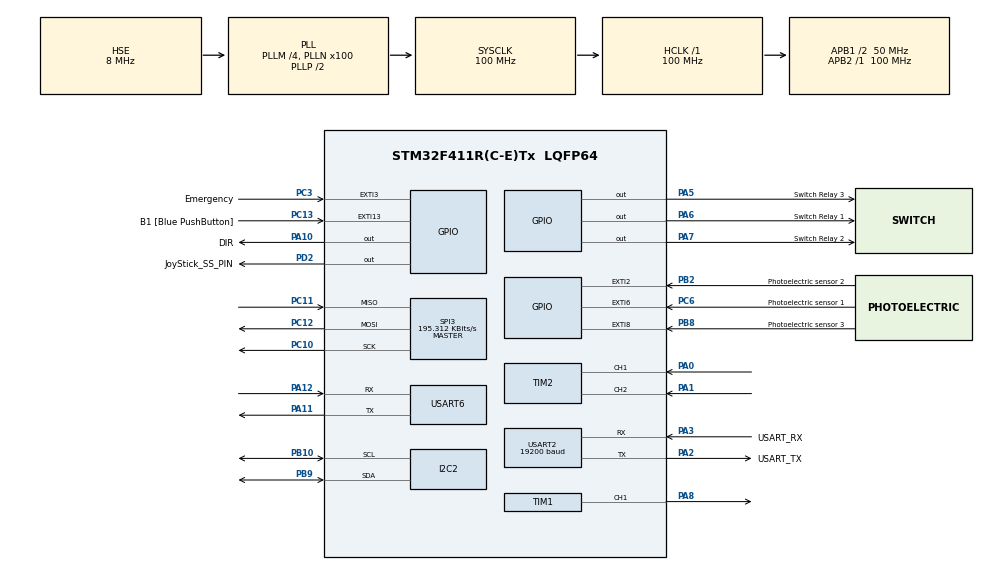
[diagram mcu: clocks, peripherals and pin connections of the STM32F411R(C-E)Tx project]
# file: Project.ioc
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Dma.Request0=USART2_TX
Dma.USART2_TX.0.Direction=DMA_MEMORY_TO_PERIPH
Dma.USART2_TX.0.FIFOMode=DMA_FIFOMODE_DISABLE
Dma.USART2_TX.0.Instance=DMA1_Stream6
Dma.USART2_TX.0.MemDataAlignment=DMA_MDATAALIGN_BYTE
Dma.USART2_TX.0.MemInc=DMA_MINC_ENABLE
Dma.USART2_TX.0.Mode=DMA_NORMAL
Dma.USART2_TX.0.PeriphDataAlignment=DMA_PDATAALIGN_BYTE
Dma.USART2_TX.0.PeriphInc=DMA_PINC_DISABLE
Dma.USART2_TX.0.Priority=DMA_PRIORITY_LOW
Mcu.Family=STM32F4
Mcu.Name=STM32F411R(C-E)Tx
Mcu.Package=LQFP64
NVIC.DMA1_Stream6_IRQn=true\:0\:0\:false\:false\:true\:false\:true\:true
NVIC.EXTI15_10_IRQn=true\:0\:0\:false\:false\:true\:true\:true\:true
NVIC.EXTI2_IRQn=true\:0\:0\:false\:false\:true\:true\:true\:true
NVIC.EXTI3_IRQn=true\:0\:0\:false\:false\:true\:true\:true\:true
NVIC.EXTI9_5_IRQn=true\:0\:0\:false\:false\:true\:true\:true\:true
NVIC.PriorityGroup=NVIC_PRIORITYGROUP_0
NVIC.TIM1_TRG_COM_TIM11_IRQn=true\:0\:0\:false\:false\:true\:true\:true\:true
NVIC.TIM3_IRQn=true\:0\:0\:false\:false\:true\:true\:true\:true
NVIC.TIM5_IRQn=true\:0\:0\:false\:false\:true\:true\:true\:true
NVIC.USART2_IRQn=true\:0\:0\:false\:false\:true\:true\:true\:true
PA0-WKUP.Signal=S_TIM2_CH1_ETR
PA1.Signal=S_TIM2_CH2
PA10.GPIO_Label=DIR
PA10.Signal=GPIO_Output
PA11.Mode=Asynchronous
PA11.Signal=USART6_TX
PA12.Mode=Asynchronous
PA12.Signal=USART6_RX
PA13.GPIO_Label=TMS
PA13.Mode=Serial_Wire
PA13.Signal=SYS_JTMS-SWDIO
PA14.GPIO_Label=TCK
PA14.Mode=Serial_Wire
PA14.Signal=SYS_JTCK-SWCLK
PA2.GPIO_Label=USART_TX
PA2.Mode=Asynchronous
PA2.Signal=USART2_TX
PA3.GPIO_Label=USART_RX
PA3.Mode=Asynchronous
PA3.Signal=USART2_RX
PA5.GPIO_Label=Switch Relay 3
PA5.Signal=GPIO_Output
PA6.GPIO_Label=Switch Relay 1
PA6.Signal=GPIO_Output
PA7.GPIO_Label=Switch Relay 2
PA7.Signal=GPIO_Output
PA8.Signal=S_TIM1_CH1
PB10.GPIO_Pu=GPIO_PULLUP
PB10.Mode=I2C
PB10.Signal=I2C2_SCL
PB2.GPIO_Label=Photoelectric sensor 2
PB2.GPIO_ModeDefaultEXTI=GPIO_MODE_IT_FALLING
PB2.Signal=GPXTI2
PB8.GPIO_Label=Photoelectric sensor 3
PB8.GPIO_ModeDefaultEXTI=GPIO_MODE_IT_FALLING
PB8.Signal=GPXTI8
PB9.GPIO_Pu=GPIO_PULLUP
PB9.Mode=I2C
PB9.Signal=I2C2_SDA
PC10.Mode=Full_Duplex_Master
PC10.Signal=SPI3_SCK
PC11.Mode=Full_Duplex_Master
PC11.Signal=SPI3_MISO
PC12.Mode=Full_Duplex_Master
PC12.Signal=SPI3_MOSI
PC13-ANTI_TAMP.GPIO_Label=B1 [Blue PushButton]
PC13-ANTI_TAMP.GPIO_ModeDefaultEXTI=GPIO_MODE_IT_FALLING
PC13-ANTI_TAMP.Signal=GPXTI13
PC14-OSC32_IN.Mode=LSE-External-Oscillator
PC14-OSC32_IN.Signal=RCC_OSC32_IN
PC15-OSC32_OUT.Mode=LSE-External-Oscillator
PC15-OSC32_OUT.Signal=RCC_OSC32_OUT
PC3.GPIO_Label=Emergency
PC3.GPIO_ModeDefaultEXTI=GPIO_MODE_IT_RISING
PC3.Signal=GPXTI3
PC6.GPIO_Label=Photoelectric sensor 1
PC6.GPIO_ModeDefaultEXTI=GPIO_MODE_IT_FALLING
PC6.Signal=GPXTI6
PD2.GPIO_Label=JoyStick_SS_PIN
PD2.Signal=GPIO_Output
PH0\ -\ OSC_IN.Mode=HSE-External-Clock-Source
PH0\ -\ OSC_IN.Signal=RCC_OSC_IN
PH1\ -\ OSC_OUT.Mode=HSE-External-Clock-Source
PH1\ -\ OSC_OUT.Signal=RCC_OSC_OUT
ProjectManager.HeapSize=0x200
ProjectManager.StackSize=0x400
ProjectManager.TargetToolchain=STM32CubeIDE
RCC.48MHZClocksFreq_Value=50000000
RCC.AHBFreq_Value=100000000
RCC.APB1CLKDivider=RCC_HCLK_DIV2
RCC.APB1Freq_Value=50000000
RCC.APB1TimFreq_Value=100000000
RCC.APB2Freq_Value=100000000
RCC.APB2TimFreq_Value=100000000
RCC.CortexFreq_Value=100000000
RCC.FLatency-AdvancedSettings=FLASH_LATENCY_3
RCC.HCLKFreq_Value=100000000
RCC.HSE_VALUE=8000000
RCC.HSI_VALUE=16000000
RCC.PLLM=4
RCC.PLLN=100
RCC.PLLSourceVirtual=RCC_PLLSOURCE_HSE
RCC.SYSCLKFreq_VALUE=100000000
RCC.SYSCLKSource=RCC_SYSCLKSOURCE_PLLCLK
RCC.VCOOutputFreq_Value=200000000
SH.S_TIM1_CH1.0=TIM1_CH1,PWM Generation1 CH1
SH.S_TIM2_CH1_ETR.0=TIM2_CH1,Encoder_Interface
SH.S_TIM2_CH2.0=TIM2_CH2,Encoder_Interface
SPI3.BaudRatePrescaler=SPI_BAUDRATEPRESCALER_256
SPI3.CLKPhase=SPI_PHASE_2EDGE
SPI3.CLKPolarity=SPI_POLARITY_HIGH
SPI3.CalculateBaudRate=195.312 KBits/s
SPI3.Direction=SPI_DIRECTION_2LINES
SPI3.FirstBit=SPI_FIRSTBIT_LSB
SPI3.Mode=SPI_MODE_MASTER
SPI3.VirtualType=VM_MASTER
TIM1.Channel-PWM\ Generation1\ CH1=TIM_CHANNEL_1
TIM1.Period=65535
TIM1.Prescaler=0
TIM1.Pulse-PWM\ Generation1\ CH1=0
TIM11.Channel=TIM_CHANNEL_1
TIM11.OCMode_1=TIM_OCMODE_ACTIVE
TIM11.Period=2005
TIM11.Prescaler=99
TIM11.Pulse=1433
TIM2.EncoderMode=TIM_ENCODERMODE_TI12
TIM2.IC1Filter=15
TIM2.IC2Filter=15
TIM3.Period=9999
TIM3.Prescaler=99
TIM5.Prescaler=99
USART2.BaudRate=19200
USART2.Parity=PARITY_EVEN
USART2.VirtualMode=VM_ASYNC
USART2.WordLength=WORDLENGTH_9B
USART6.Parity=PARITY_EVEN
USART6.VirtualMode=VM_ASYNC
USART6.WordLength=WORDLENGTH_9B
VP_TIM11_VS_ClockSourceINT.Mode=Enable_Timer
VP_TIM11_VS_OPM.Mode=OPM_bit
VP_TIM11_VS_no_output1.Mode=Output Compare1 No Output
VP_TIM1_VS_ClockSourceINT.Mode=Internal
VP_TIM3_VS_ClockSourceINT.Mode=Internal
VP_TIM5_VS_ClockSourceINT.Mode=Internal
board=NUCLEO-F411RE

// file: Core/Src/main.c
/* USER CODE BEGIN Header */
/**
 ******************************************************************************
 * @file           : main.c
 * @brief          : Main program body
 ******************************************************************************
 * @attention
 *
 * Copyright (c) 2023 STMicroelectronics.
 * All rights reserved.
 *
 * This software is licensed under terms that can be found in the LICENSE file
 * in the root directory of this software component.
 * If no LICENSE file comes with this software, it is provided AS-IS.
 *
 ******************************************************************************
 */
/* USER CODE END Header */
#include "main.h"

/* USER CODE BEGIN Includes */
#include "math.h"
#include "arm_math.h"
#include "Function.h"
#include "endeffector.h"
#include "joystick.h"
#include "pid_traject.h"
#include "ModBusRTU.h"
/* USER CODE END Includes */

I2C_HandleTypeDef hi2c2;

SPI_HandleTypeDef hspi3;

TIM_HandleTypeDef htim1;
TIM_HandleTypeDef htim2;
TIM_HandleTypeDef htim3;
TIM_HandleTypeDef htim5;
TIM_HandleTypeDef htim11;

UART_HandleTypeDef huart2;
UART_HandleTypeDef huart6;
DMA_HandleTypeDef hdma_usart2_tx;

/* USER CODE BEGIN PV */
////////////Traject/////////
uint64_t traject_us = 1000;
uint64_t pid_us = 1000;

float pos_i = 0;
float pos_f = 0;

uint8_t state_IT = 0;
uint8_t go_next = 0;
uint8_t Re = 0;

double t_Acce = 0.001;
double t_DeAcce = 0.001;
double t_Cons = 0.001;
double t_count = 0.001;
double t_diff = 0.001;

double x;
double v;
double a;

float Dutyfeedback;
///////////////////////////////

// for PID control///////////
uint8_t State_PID = 2;
float Intregral = 0;

float current_pos = 0.0;
float current_velocity = 0.0;
float acc = 0.0;
////////////////////////////////

int state_laser = 0;
/////////////////////////////

uint64_t _micros = 0;

ModbusHandleTypedef hmodbus;
u16u8_t registerFrame[200];

////////////read sensor/////////
struct GPIO_Check {
	int photo1;
	int photo2;
	int photo3;
	int emer;
	int ramp;
} GPIO_test;

int PHOTO1;
int PHOTO2;
int32_t QEIReadRaw;
float PosY;
////////////read sensor/////////

////////////JoyStick/////////

float Pick_Point_Y[9];
float Pick_Point_X[9];

float Place_Point_Y[9];
float Place_Point_X[9];

int position_index = 0;
float position_test[18] = { 99.34, 544.89, 119.34, 564.89, 139.64, 584.89,
		99.34, 544.89, 119.34, 564.89, 139.64, 584.89, 99.34, 544.89, 119.34,
		564.89, 139.64, 584.89, };

enum State_Machine {
	INIT,
	INIT_HOMING,
	IDLE,
	SETPICKTRAY,
	SETPLACETRAY,
	RUNTRAYMODE,
	RUNPOINTMODE,
	EMERGENCY,
	OUT_EMBERGENCY,
	SENSOR_CHECK,
} State = IDLE;

int LAST_STATE;

enum Laser {
	Init,
	Test_Start,
	Test_Stop,
	Reset,
	In_Emergency,
	Out_Emergency,
	Run_Mode,
	Close_Run_Mode,
	Pick,
	Pick_Check,
	Place,
	Place_Check,
	Read,
} EndEffector_State = Init;

enum State_Machine_RUNTRAYMODE {
	GOPICK, GOPLACE
} State_RUNTRAYMODE = GOPICK;

enum State_Machine_Control {
	TRAJECTGEN, TRAJECTEVA_PID, TRAJECTGENNEXT
} State_Control = TRAJECTGEN;

enum TRAY_STATUS_ENUM {
	PICK, PLACE
} TRAY_STATUS;

struct BaseSystemBit {
	int SetPickTray;
	int SetPlaceTray;
	int Home;
	int RunTrayMode;
	int RunPointMode;
};

struct EndEffectorStatusBit {
	int LaserOff;
	int LaserOn;
	int GripperPower;
	int GripperPicking;
	int GripperPlacing;
};

struct yaxisMovingStatusBit {
	int JogPick;
	int JogPlease;
	int Home;
	int GoPick;
	int GoPlace;
	int Gopoint;
};

struct xaxisMovingStatusBit {
	int Home;
	int Run;
	int JogLeft;
	int JogRight;
};

int state_laser_test = 0;

float a1 = 0;
float b = 0;
float c = 0;
//float cos_zeta = a / c;
float cos_zeta;
float sin_zeta;
//	float tan_zeta = b / a;

int last_endeffecter_status = 0;

int flag = 0;
uint32_t timestamp_emer = 0;
uint32_t timestamp_emer_laser = 0;

uint64_t timestamp_wait = 0;

int last_emer = 0;
/* USER CODE END PV */

void SystemClock_Config(void);
static void MX_GPIO_Init(void);
static void MX_DMA_Init(void);
static void MX_USART2_UART_Init(void);
static void MX_TIM2_Init(void);
static void MX_TIM1_Init(void);
static void MX_TIM3_Init(void);
static void MX_USART6_UART_Init(void);
static void MX_TIM5_Init(void);
static void MX_SPI3_Init(void);
static void MX_TIM11_Init(void);
static void MX_I2C2_Init(void);
/* USER CODE BEGIN PFP */
inline uint64_t micros();
void ramp_set(int number);
/* USER CODE END PFP */

/* USER CODE BEGIN 0 */
// for Trajectory gen and eva///
/* USER CODE END 0 */

int main(void)
{

  /* MCU Configuration--------------------------------------------------------*/

  /* Reset of all peripherals, Initializes the Flash interface and the Systick. */
  HAL_Init();

  /* Configure the system clock */
  SystemClock_Config();

  /* Initialize all configured peripherals */
  MX_GPIO_Init();
  MX_DMA_Init();
  MX_USART2_UART_Init();
  MX_TIM2_Init();
  MX_TIM1_Init();
  MX_TIM3_Init();
  MX_USART6_UART_Init();
  MX_TIM5_Init();
  MX_SPI3_Init();
  MX_TIM11_Init();
  MX_I2C2_Init();
  /* USER CODE BEGIN 2 */
	EndEffector_Event(Reset);
	HAL_TIM_Encoder_Start(&htim2, TIM_CHANNEL_1 | TIM_CHANNEL_2);
	HAL_TIM_Base_Start_IT(&htim3);
	HAL_TIM_Base_Start(&htim1);
	HAL_TIM_PWM_Start(&htim1, TIM_CHANNEL_1);

	HAL_TIM_Base_Start_IT(&htim5);

	t_Acce = traject_us / 1000000.00;
	t_DeAcce = traject_us / 1000000.00;
	t_Cons = traject_us / 1000000.00;
	t_count = traject_us / 1000000.00;
	t_diff = traject_us / 1000000.00;

	hmodbus.huart = &huart2;
	hmodbus.htim = &htim11;
	hmodbus.slaveAddress = 0x15;
	hmodbus.RegisterSize = 200;
	Modbus_init(&hmodbus, registerFrame);

	struct BaseSystemBit BaseSystemStatusData = { .SetPickTray = 1,
			.SetPlaceTray = 2, .Home = 4, .RunTrayMode = 8, .RunPointMode = 16 };

	struct EndEffectorStatusBit EndEffectorStatusData = { .LaserOff = 0,
			.LaserOn = 1, .GripperPower = 2, .GripperPicking = 6,
			.GripperPlacing = 10 };

	struct yaxisMovingStatusBit yaxisMovingStatusData =
			{ .JogPick = 1, .JogPlease = 2, .Home = 4, .GoPick = 8, .GoPlace =
					16, .Gopoint = 32 };

	struct xaxisMovingStatusBit xaxisMovingStatusData = { .Home = 1, .Run = 2,
			.JogLeft = 4, .JogRight = 8 };

	x_axis_Actual_Position= 0;
	x_axis_Target_Speed= 3000;
	x_axis_Target_Acceleration_Time= 1;
  /* USER CODE END 2 */

  /* Infinite loop */
  /* USER CODE BEGIN WHILE */
	while (1) {

		static uint64_t timestamp_traject = 0;
		static uint64_t timestamp_heartbeat = 0;
		static uint64_t timestamp_emer_hz = 0;
//		static uint64_t timestamp_Endeffecter = 0;

		int64_t GetTicku = micros();

		Modbus_Protocal_Worker();

    /* USER CODE END WHILE */

    /* USER CODE BEGIN 3 */

//		GPIO_test.emer = HAL_GPIO_ReadPin(Emergency_GPIO_Port, Emergency_Pin);
		if (HAL_GetTick() >= timestamp_heartbeat) {
			timestamp_heartbeat = HAL_GetTick() + 200;

			Heartbeat_Protocol= 22881;

			y_axis_Actual_Position= (int32_t)(PosY*10);
			y_axis_Actual_Speed= fabs(current_velocity)*10;
			y_axis_Actual_Acceleration= fabs(acc)*10;

		}

		switch (State) {

		case INIT:
			State = INIT_HOMING;
			break;

		case INIT_HOMING:
			y_axis_Moving_Status= yaxisMovingStatusData.Home;
			x_axis_Moving_Status = xaxisMovingStatusData.Home;
			Init_Homing();

			break;

			case IDLE: //HOME

			if(End_Effector_Status != last_endeffecter_status) {
				if (End_Effector_Status == EndEffectorStatusData.LaserOn) {
					EndEffector_Event(Test_Start);
				} else if(End_Effector_Status == EndEffectorStatusData.LaserOff) {
					EndEffector_Event(Test_Stop);
				} else if (End_Effector_Status == EndEffectorStatusData.GripperPower) {
					EndEffector_Event(Run_Mode);
				}

				if (End_Effector_Status == EndEffectorStatusData.GripperPicking) {
					//				EndEffector_Event(Run_Mode);
					//				HAL_Delay(300);
					EndEffector_Event(Pick);
					End_Effector_Status = EndEffectorStatusData.GripperPower;
				} else if (End_Effector_Status == EndEffectorStatusData.GripperPlacing) {
					//				EndEffector_Event(Run_Mode);
					//				HAL_Delay(300);
					EndEffector_Event(Place);
					End_Effector_Status = EndEffectorStatusData.GripperPower;
				}

				if(End_Effector_Status == 100) {
					EndEffector_Event(Read);
				}
			}

			last_endeffecter_status = End_Effector_Status;

			if(Base_System_Status == BaseSystemStatusData.SetPickTray) {
				End_Effector_Status = EndEffectorStatusData.LaserOn;
				EndEffector_Event(Test_Start);
				HAL_GPIO_WritePin(Switch_Relay_1_GPIO_Port, Switch_Relay_1_Pin,
						RESET);
				HAL_GPIO_WritePin(Switch_Relay_2_GPIO_Port, Switch_Relay_2_Pin,
						SET);
				HAL_GPIO_WritePin(Switch_Relay_3_GPIO_Port, Switch_Relay_3_Pin,
						RESET);
				Base_System_Status = 0;
				y_axis_Moving_Status = yaxisMovingStatusData.JogPick;
				TRAY_STATUS = PICK;
				State = SETPICKTRAY;
			} else if(Base_System_Status == BaseSystemStatusData.SetPlaceTray) {
				End_Effector_Status = EndEffectorStatusData.LaserOn;
				EndEffector_Event(Test_Start);
				HAL_GPIO_WritePin(Switch_Relay_1_GPIO_Port, Switch_Relay_1_Pin,
						RESET);
				HAL_GPIO_WritePin(Switch_Relay_2_GPIO_Port, Switch_Relay_2_Pin,
						SET);
				HAL_GPIO_WritePin(Switch_Relay_3_GPIO_Port, Switch_Relay_3_Pin,
						RESET);
				Base_System_Status = 0;
				y_axis_Moving_Status = yaxisMovingStatusData.JogPlease;
				TRAY_STATUS = PLACE;
				State = SETPLACETRAY;
			}

			if(Base_System_Status == BaseSystemStatusData.RunPointMode) {
				Base_System_Status = 0;
//				EndEffector_Event(Run_Mode);
				x_axis_Target_Position = Goal_Point_x;
				x_axis_Moving_Status = xaxisMovingStatusData.Run;

				pos_i = PosY;

				if(Goal_Point_y >= 0 && Goal_Point_y <= 3500) {
					pos_f = (float)Goal_Point_y/10;
				} else if(Goal_Point_y >= 65535-3500 && Goal_Point_y <= 65535) {
					pos_f = -(float)(65536%Goal_Point_y)/10;
				}

				Trajectory_Gen(pos_i, pos_f, Max_Velocity, Max_Acceleration);

				y_axis_Moving_Status = yaxisMovingStatusData.Gopoint;
				State = RUNPOINTMODE;

			} else if(Base_System_Status == BaseSystemStatusData.RunTrayMode) {

				HAL_GPIO_WritePin(Switch_Relay_1_GPIO_Port, Switch_Relay_1_Pin, RESET);
				HAL_GPIO_WritePin(Switch_Relay_2_GPIO_Port, Switch_Relay_2_Pin, RESET);
				HAL_GPIO_WritePin(Switch_Relay_3_GPIO_Port, Switch_Relay_3_Pin, SET);

				Base_System_Status = 0;
				position_index = 0;
//				End_Effector_Status = EndEffectorStatusData.GripperPower;
//				EndEffector_Event(Run_Mode);
				State = RUNTRAYMODE;
				State_Control = TRAJECTGEN;
				State_RUNTRAYMODE = GOPICK;
			}

			if(Base_System_Status == BaseSystemStatusData.Home) {
				Base_System_Status = 0;
				State = INIT_HOMING;
			}
			break;

			case SETPICKTRAY:
			JoyStickControl();
			break;

			case SETPLACETRAY:
			JoyStickControl();
			break;

			case RUNPOINTMODE:
			if (GetTicku >= timestamp_traject) {
				timestamp_traject = GetTicku + traject_us;
				Trajectory_Eva();
				read_pos();
				PID(x);
			} else if (pos_f - PosY <= Boundary && pos_f - PosY >= -Boundary ) {
				__HAL_TIM_SET_COMPARE(&htim1, TIM_CHANNEL_1, 0);
				Intregral = 0;
				Dutyfeedback = 0;
				v = 0;
				a = 0;

				pos_i = PosY;
				y_axis_Moving_Status = 0;

				State = IDLE;
			}
			break;

			case RUNTRAYMODE:
			switch (State_RUNTRAYMODE) {

				case GOPICK:
				y_axis_Moving_Status = yaxisMovingStatusData.GoPick;
				switch (State_Control) {
					case TRAJECTGEN:
					pos_i = PosY;
					pos_f = Pick_Point_Y[position_index];

					Trajectory_Gen(pos_i, pos_f, Max_Velocity, Max_Acceleration);

					if(x_axis_Moving_Status == 0) {
						x_axis_Target_Position= (int16_t)Pick_Point_X[position_index];
						x_axis_Moving_Status = xaxisMovingStatusData.Run;
						State_Control = TRAJECTEVA_PID;
					}

					break;
					case TRAJECTEVA_PID:
					if (GetTicku >= timestamp_traject) {
						timestamp_traject = GetTicku + traject_us;
						Trajectory_Eva();
						read_pos();
						PID(x);
					} else if (pos_f - PosY <= Boundary && pos_f - PosY >= -Boundary ) {
						__HAL_TIM_SET_COMPARE(&htim1, TIM_CHANNEL_1, 0);
						Intregral = 0;
						Dutyfeedback = 0;
						v = 0;
						a = 0;

						State_Control = TRAJECTGENNEXT;

					}
					break;

					case TRAJECTGENNEXT:
					if(flag == 0 && x_axis_Moving_Status == 0) {
						EndEffector_Event(Pick);
						timestamp_wait = HAL_GetTick()+2200;
						flag = 1;
					} else if(flag == 1) {
						if(HAL_GetTick() >= timestamp_wait) {
							flag = 0;
							pos_i = PosY;
							pos_f = Place_Point_Y[position_index];

							State_Control = TRAJECTGEN;
							State_RUNTRAYMODE = GOPLACE;
						}
					}

					break;

				}
				break;

				case GOPLACE:
				y_axis_Moving_Status = yaxisMovingStatusData.GoPlace;
				switch (State_Control) {
					case TRAJECTGEN:

					Trajectory_Gen(pos_i, pos_f, Max_Velocity, Max_Acceleration);

					if(x_axis_Moving_Status == 0) {
						x_axis_Target_Position= (int16_t)Place_Point_X[position_index];
						x_axis_Moving_Status = xaxisMovingStatusData.Run;
						State_Control = TRAJECTEVA_PID;
					}

					break;

					case TRAJECTEVA_PID:
					if (GetTicku >= timestamp_traject) {
						timestamp_traject = GetTicku + traject_us;
						Trajectory_Eva();
						read_pos();
						PID(x);
					} else if (pos_f - PosY <= Boundary && pos_f - PosY >= -Boundary) {
						__HAL_TIM_SET_COMPARE(&htim1, TIM_CHANNEL_1, 0);
						Intregral = 0;
						Dutyfeedback = 0;
						v = 0;
						a = 0;

						pos_i = PosY;

						State_Control = TRAJECTGENNEXT;

					}
					break;

					case TRAJECTGENNEXT:

					if(flag == 0 && x_axis_Moving_Status == 0) {
						EndEffector_Event(Place);
						timestamp_wait = HAL_GetTick()+2200;
						flag = 1;
					} else if(flag == 1) {
						if(HAL_GetTick() >= timestamp_wait) {
							flag = 0;
							if(position_index < 8) {
								pos_i = PosY;
								position_index++;
								State_Control = TRAJECTGEN;
								State_RUNTRAYMODE = GOPICK;

							} else {
								y_axis_Moving_Status = 0;
								State = INIT_HOMING;
							}
						}
					}

					break;
				}
				break;
			}

			break;

			case EMERGENCY:
			if(HAL_GPIO_ReadPin(Emergency_GPIO_Port, Emergency_Pin) == 0 && last_emer == 1 && HAL_GetTick() >= timestamp_emer) {
				timestamp_emer = HAL_GetTick() + 1500;

				State = OUT_EMBERGENCY;

			}
			break;

			case OUT_EMBERGENCY:
			if(flag == 0) {
				EndEffector_Event(Out_Emergency);
				timestamp_emer_laser = HAL_GetTick()+1000;
				flag = 1;
			} else if(flag == 1) {
				if(HAL_GetTick() >= timestamp_emer_laser) {

					if(End_Effector_Status == EndEffectorStatusData.LaserOn) {
						EndEffector_Event(Test_Start);
					} else if(End_Effector_Status == EndEffectorStatusData.GripperPower) {
						EndEffector_Event(Run_Mode);
					}
					flag = 0;
					if(x_axis_Moving_Status == 0) {
						x_axis_Target_Position = 0;
						x_axis_Moving_Status = xaxisMovingStatusData.Run;
						State = 0;
					}

				}
			}
			break;

			case SENSOR_CHECK:
			read_pos();
			GPIO_test.photo1 = HAL_GPIO_ReadPin(Photoelectric_sensor_1_GPIO_Port,
					Photoelectric_sensor_1_Pin);
			GPIO_test.photo2 = HAL_GPIO_ReadPin(Photoelectric_sensor_2_GPIO_Port,
					Photoelectric_sensor_2_Pin);
			GPIO_test.photo3 = HAL_GPIO_ReadPin(Photoelectric_sensor_3_GPIO_Port,
					Photoelectric_sensor_3_Pin);
			GPIO_test.emer = HAL_GPIO_ReadPin(Emergency_GPIO_Port, Emergency_Pin);

			if (GPIO_test.ramp == 1) {
				HAL_GPIO_WritePin(Switch_Relay_1_GPIO_Port, Switch_Relay_1_Pin,
						SET);
				HAL_GPIO_WritePin(Switch_Relay_2_GPIO_Port, Switch_Relay_2_Pin,
						RESET);
				HAL_GPIO_WritePin(Switch_Relay_3_GPIO_Port, Switch_Relay_3_Pin,
						RESET);
			} else if (GPIO_test.ramp == 2) {
				HAL_GPIO_WritePin(Switch_Relay_1_GPIO_Port, Switch_Relay_1_Pin,
						RESET);
				HAL_GPIO_WritePin(Switch_Relay_2_GPIO_Port, Switch_Relay_2_Pin,
						SET);
				HAL_GPIO_WritePin(Switch_Relay_3_GPIO_Port, Switch_Relay_3_Pin,
						RESET);
			} else if (GPIO_test.ramp == 3) {
				HAL_GPIO_WritePin(Switch_Relay_1_GPIO_Port, Switch_Relay_1_Pin,
						RESET);
				HAL_GPIO_WritePin(Switch_Relay_2_GPIO_Port, Switch_Relay_2_Pin,
						RESET);
				HAL_GPIO_WritePin(Switch_Relay_3_GPIO_Port, Switch_Relay_3_Pin,
						SET);
			} else {
				HAL_GPIO_WritePin(Switch_Relay_1_GPIO_Port, Switch_Relay_1_Pin,
						RESET);
				HAL_GPIO_WritePin(Switch_Relay_2_GPIO_Port, Switch_Relay_2_Pin,
						RESET);
				HAL_GPIO_WritePin(Switch_Relay_3_GPIO_Port, Switch_Relay_3_Pin,
						RESET);
			}

			if (go_next == 1) {
				State = INIT;
			}

			break;
		}

		if (HAL_GetTick() >= timestamp_emer_hz) {
			timestamp_emer_hz = HAL_GetTick() + 300;

			if (HAL_GPIO_ReadPin(Emergency_GPIO_Port, Emergency_Pin) == 1
					&& last_emer == 0 && HAL_GetTick() >= timestamp_emer) {
				if (State != SENSOR_CHECK && State != EMERGENCY) {

					EndEffector_Event(In_Emergency);
					timestamp_emer = HAL_GetTick() + 1500;
					LAST_STATE = State;

					State = EMERGENCY;
				}
			}

			last_emer = HAL_GPIO_ReadPin(Emergency_GPIO_Port, Emergency_Pin);

		}

		if (Re == 1) {
			NVIC_SystemReset();
			break;
		}

	}
  /* USER CODE END 3 */
}

void SystemClock_Config(void)
{
  RCC_OscInitTypeDef RCC_OscInitStruct = {0};
  RCC_ClkInitTypeDef RCC_ClkInitStruct = {0};

  /** Configure the main internal regulator output voltage
  */
  __HAL_RCC_PWR_CLK_ENABLE();
  __HAL_PWR_VOLTAGESCALING_CONFIG(PWR_REGULATOR_VOLTAGE_SCALE1);

  /** Initializes the RCC Oscillators according to the specified parameters
  * in the RCC_OscInitTypeDef structure.
  */
  RCC_OscInitStruct.OscillatorType = RCC_OSCILLATORTYPE_HSE;
  RCC_OscInitStruct.HSEState = RCC_HSE_BYPASS;
  RCC_OscInitStruct.PLL.PLLState = RCC_PLL_ON;
  RCC_OscInitStruct.PLL.PLLSource = RCC_PLLSOURCE_HSE;
  RCC_OscInitStruct.PLL.PLLM = 4;
  RCC_OscInitStruct.PLL.PLLN = 100;
  RCC_OscInitStruct.PLL.PLLP = RCC_PLLP_DIV2;
  RCC_OscInitStruct.PLL.PLLQ = 4;
  if (HAL_RCC_OscConfig(&RCC_OscInitStruct) != HAL_OK)
  {
    Error_Handler();
  }

  /** Initializes the CPU, AHB and APB buses clocks
  */
  RCC_ClkInitStruct.ClockType = RCC_CLOCKTYPE_HCLK|RCC_CLOCKTYPE_SYSCLK
                              |RCC_CLOCKTYPE_PCLK1|RCC_CLOCKTYPE_PCLK2;
  RCC_ClkInitStruct.SYSCLKSource = RCC_SYSCLKSOURCE_PLLCLK;
  RCC_ClkInitStruct.AHBCLKDivider = RCC_SYSCLK_DIV1;
  RCC_ClkInitStruct.APB1CLKDivider = RCC_HCLK_DIV2;
  RCC_ClkInitStruct.APB2CLKDivider = RCC_HCLK_DIV1;

  if (HAL_RCC_ClockConfig(&RCC_ClkInitStruct, FLASH_LATENCY_3) != HAL_OK)
  {
    Error_Handler();
  }
}

static void MX_I2C2_Init(void)
{

  hi2c2.Instance = I2C2;
  hi2c2.Init.ClockSpeed = 100000;
  hi2c2.Init.DutyCycle = I2C_DUTYCYCLE_2;
  hi2c2.Init.OwnAddress1 = 0;
  hi2c2.Init.AddressingMode = I2C_ADDRESSINGMODE_7BIT;
  hi2c2.Init.DualAddressMode = I2C_DUALADDRESS_DISABLE;
  hi2c2.Init.OwnAddress2 = 0;
  hi2c2.Init.GeneralCallMode = I2C_GENERALCALL_DISABLE;
  hi2c2.Init.NoStretchMode = I2C_NOSTRETCH_DISABLE;
  if (HAL_I2C_Init(&hi2c2) != HAL_OK)
  {
    Error_Handler();
  }

}

static void MX_SPI3_Init(void)
{

  /* SPI3 parameter configuration*/
  hspi3.Instance = SPI3;
  hspi3.Init.Mode = SPI_MODE_MASTER;
  hspi3.Init.Direction = SPI_DIRECTION_2LINES;
  hspi3.Init.DataSize = SPI_DATASIZE_8BIT;
  hspi3.Init.CLKPolarity = SPI_POLARITY_HIGH;
  hspi3.Init.CLKPhase = SPI_PHASE_2EDGE;
  hspi3.Init.NSS = SPI_NSS_SOFT;
  hspi3.Init.BaudRatePrescaler = SPI_BAUDRATEPRESCALER_256;
  hspi3.Init.FirstBit = SPI_FIRSTBIT_LSB;
  hspi3.Init.TIMode = SPI_TIMODE_DISABLE;
  hspi3.Init.CRCCalculation = SPI_CRCCALCULATION_DISABLE;
  hspi3.Init.CRCPolynomial = 10;
  if (HAL_SPI_Init(&hspi3) != HAL_OK)
  {
    Error_Handler();
  }

}

static void MX_TIM1_Init(void)
{

  TIM_ClockConfigTypeDef sClockSourceConfig = {0};
  TIM_MasterConfigTypeDef sMasterConfig = {0};
  TIM_OC_InitTypeDef sConfigOC = {0};
  TIM_BreakDeadTimeConfigTypeDef sBreakDeadTimeConfig = {0};

  htim1.Instance = TIM1;
  htim1.Init.Prescaler = 0;
  htim1.Init.CounterMode = TIM_COUNTERMODE_UP;
  htim1.Init.Period = 65535;
  htim1.Init.ClockDivision = TIM_CLOCKDIVISION_DIV1;
  htim1.Init.RepetitionCounter = 0;
  htim1.Init.AutoReloadPreload = TIM_AUTORELOAD_PRELOAD_DISABLE;
  if (HAL_TIM_Base_Init(&htim1) != HAL_OK)
  {
    Error_Handler();
  }
  sClockSourceConfig.ClockSource = TIM_CLOCKSOURCE_INTERNAL;
  if (HAL_TIM_ConfigClockSource(&htim1, &sClockSourceConfig) != HAL_OK)
  {
    Error_Handler();
  }
  if (HAL_TIM_PWM_Init(&htim1) != HAL_OK)
  {
    Error_Handler();
  }
  sMasterConfig.MasterOutputTrigger = TIM_TRGO_RESET;
  sMasterConfig.MasterSlaveMode = TIM_MASTERSLAVEMODE_DISABLE;
  if (HAL_TIMEx_MasterConfigSynchronization(&htim1, &sMasterConfig) != HAL_OK)
  {
    Error_Handler();
  }
  sConfigOC.OCMode = TIM_OCMODE_PWM1;
  sConfigOC.Pulse = 0;
  sConfigOC.OCPolarity = TIM_OCPOLARITY_HIGH;
  sConfigOC.OCNPolarity = TIM_OCNPOLARITY_HIGH;
  sConfigOC.OCFastMode = TIM_OCFAST_DISABLE;
  sConfigOC.OCIdleState = TIM_OCIDLESTATE_RESET;
  sConfigOC.OCNIdleState = TIM_OCNIDLESTATE_RESET;
  if (HAL_TIM_PWM_ConfigChannel(&htim1, &sConfigOC, TIM_CHANNEL_1) != HAL_OK)
  {
    Error_Handler();
  }
  sBreakDeadTimeConfig.OffStateRunMode = TIM_OSSR_DISABLE;
  sBreakDeadTimeConfig.OffStateIDLEMode = TIM_OSSI_DISABLE;
  sBreakDeadTimeConfig.LockLevel = TIM_LOCKLEVEL_OFF;
  sBreakDeadTimeConfig.DeadTime = 0;
  sBreakDeadTimeConfig.BreakState = TIM_BREAK_DISABLE;
  sBreakDeadTimeConfig.BreakPolarity = TIM_BREAKPOLARITY_HIGH;
  sBreakDeadTimeConfig.AutomaticOutput = TIM_AUTOMATICOUTPUT_DISABLE;
  if (HAL_TIMEx_ConfigBreakDeadTime(&htim1, &sBreakDeadTimeConfig) != HAL_OK)
  {
    Error_Handler();
  }
  HAL_TIM_MspPostInit(&htim1);

}

static void MX_TIM2_Init(void)
{

  TIM_Encoder_InitTypeDef sConfig = {0};
  TIM_MasterConfigTypeDef sMasterConfig = {0};

  htim2.Instance = TIM2;
  htim2.Init.Prescaler = 0;
  htim2.Init.CounterMode = TIM_COUNTERMODE_UP;
  htim2.Init.Period = 4294967295;
  htim2.Init.ClockDivision = TIM_CLOCKDIVISION_DIV1;
  htim2.Init.AutoReloadPreload = TIM_AUTORELOAD_PRELOAD_DISABLE;
  sConfig.EncoderMode = TIM_ENCODERMODE_TI12;
  sConfig.IC1Polarity = TIM_ICPOLARITY_RISING;
  sConfig.IC1Selection = TIM_ICSELECTION_DIRECTTI;
  sConfig.IC1Prescaler = TIM_ICPSC_DIV1;
  sConfig.IC1Filter = 15;
  sConfig.IC2Polarity = TIM_ICPOLARITY_RISING;
  sConfig.IC2Selection = TIM_ICSELECTION_DIRECTTI;
  sConfig.IC2Prescaler = TIM_ICPSC_DIV1;
  sConfig.IC2Filter = 15;
  if (HAL_TIM_Encoder_Init(&htim2, &sConfig) != HAL_OK)
  {
    Error_Handler();
  }
  sMasterConfig.MasterOutputTrigger = TIM_TRGO_RESET;
  sMasterConfig.MasterSlaveMode = TIM_MASTERSLAVEMODE_DISABLE;
  if (HAL_TIMEx_MasterConfigSynchronization(&htim2, &sMasterConfig) != HAL_OK)
  {
    Error_Handler();
  }

}

static void MX_TIM3_Init(void)
{

  TIM_ClockConfigTypeDef sClockSourceConfig = {0};
  TIM_MasterConfigTypeDef sMasterConfig = {0};

  htim3.Instance = TIM3;
  htim3.Init.Prescaler = 99;
  htim3.Init.CounterMode = TIM_COUNTERMODE_UP;
  htim3.Init.Period = 9999;
  htim3.Init.ClockDivision = TIM_CLOCKDIVISION_DIV1;
  htim3.Init.AutoReloadPreload = TIM_AUTORELOAD_PRELOAD_DISABLE;
  if (HAL_TIM_Base_Init(&htim3) != HAL_OK)
  {
    Error_Handler();
  }
  sClockSourceConfig.ClockSource = TIM_CLOCKSOURCE_INTERNAL;
  if (HAL_TIM_ConfigClockSource(&htim3, &sClockSourceConfig) != HAL_OK)
  {
    Error_Handler();
  }
  sMasterConfig.MasterOutputTrigger = TIM_TRGO_RESET;
  sMasterConfig.MasterSlaveMode = TIM_MASTERSLAVEMODE_DISABLE;
  if (HAL_TIMEx_MasterConfigSynchronization(&htim3, &sMasterConfig) != HAL_OK)
  {
    Error_Handler();
  }

}

static void MX_TIM5_Init(void)
{

  TIM_ClockConfigTypeDef sClockSourceConfig = {0};
  TIM_MasterConfigTypeDef sMasterConfig = {0};

  htim5.Instance = TIM5;
  htim5.Init.Prescaler = 99;
  htim5.Init.CounterMode = TIM_COUNTERMODE_UP;
  htim5.Init.Period = 4294967295;
  htim5.Init.ClockDivision = TIM_CLOCKDIVISION_DIV1;
  htim5.Init.AutoReloadPreload = TIM_AUTORELOAD_PRELOAD_DISABLE;
  if (HAL_TIM_Base_Init(&htim5) != HAL_OK)
  {
    Error_Handler();
  }
  sClockSourceConfig.ClockSource = TIM_CLOCKSOURCE_INTERNAL;
  if (HAL_TIM_ConfigClockSource(&htim5, &sClockSourceConfig) != HAL_OK)
  {
    Error_Handler();
  }
  sMasterConfig.MasterOutputTrigger = TIM_TRGO_RESET;
  sMasterConfig.MasterSlaveMode = TIM_MASTERSLAVEMODE_DISABLE;
  if (HAL_TIMEx_MasterConfigSynchronization(&htim5, &sMasterConfig) != HAL_OK)
  {
    Error_Handler();
  }

}

static void MX_TIM11_Init(void)
{

  TIM_OC_InitTypeDef sConfigOC = {0};

  htim11.Instance = TIM11;
  htim11.Init.Prescaler = 99;
  htim11.Init.CounterMode = TIM_COUNTERMODE_UP;
  htim11.Init.Period = 2005;
  htim11.Init.ClockDivision = TIM_CLOCKDIVISION_DIV1;
  htim11.Init.AutoReloadPreload = TIM_AUTORELOAD_PRELOAD_DISABLE;
  if (HAL_TIM_Base_Init(&htim11) != HAL_OK)
  {
    Error_Handler();
  }
  if (HAL_TIM_OC_Init(&htim11) != HAL_OK)
  {
    Error_Handler();
  }
  if (HAL_TIM_OnePulse_Init(&htim11, TIM_OPMODE_SINGLE) != HAL_OK)
  {
    Error_Handler();
  }
  sConfigOC.OCMode = TIM_OCMODE_ACTIVE;
  sConfigOC.Pulse = 1433;
  sConfigOC.OCPolarity = TIM_OCPOLARITY_HIGH;
  sConfigOC.OCFastMode = TIM_OCFAST_DISABLE;
  if (HAL_TIM_OC_ConfigChannel(&htim11, &sConfigOC, TIM_CHANNEL_1) != HAL_OK)
  {
    Error_Handler();
  }

}

static void MX_USART2_UART_Init(void)
{

  huart2.Instance = USART2;
  huart2.Init.BaudRate = 19200;
  huart2.Init.WordLength = UART_WORDLENGTH_9B;
  huart2.Init.StopBits = UART_STOPBITS_1;
  huart2.Init.Parity = UART_PARITY_EVEN;
  huart2.Init.Mode = UART_MODE_TX_RX;
  huart2.Init.HwFlowCtl = UART_HWCONTROL_NONE;
  huart2.Init.OverSampling = UART_OVERSAMPLING_16;
  if (HAL_UART_Init(&huart2) != HAL_OK)
  {
    Error_Handler();
  }

}

static void MX_USART6_UART_Init(void)
{

  huart6.Instance = USART6;
  huart6.Init.BaudRate = 115200;
  huart6.Init.WordLength = UART_WORDLENGTH_9B;
  huart6.Init.StopBits = UART_STOPBITS_1;
  huart6.Init.Parity = UART_PARITY_EVEN;
  huart6.Init.Mode = UART_MODE_TX_RX;
  huart6.Init.HwFlowCtl = UART_HWCONTROL_NONE;
  huart6.Init.OverSampling = UART_OVERSAMPLING_16;
  if (HAL_UART_Init(&huart6) != HAL_OK)
  {
    Error_Handler();
  }

}

static void MX_DMA_Init(void)
{

  /* DMA controller clock enable */
  __HAL_RCC_DMA1_CLK_ENABLE();

  /* DMA interrupt init */
  /* DMA1_Stream6_IRQn interrupt configuration */
  HAL_NVIC_SetPriority(DMA1_Stream6_IRQn, 0, 0);
  HAL_NVIC_EnableIRQ(DMA1_Stream6_IRQn);

}

static void MX_GPIO_Init(void)
{
  GPIO_InitTypeDef GPIO_InitStruct = {0};

  /* GPIO Ports Clock Enable */
  __HAL_RCC_GPIOC_CLK_ENABLE();
  __HAL_RCC_GPIOH_CLK_ENABLE();
  __HAL_RCC_GPIOA_CLK_ENABLE();
  __HAL_RCC_GPIOB_CLK_ENABLE();
  __HAL_RCC_GPIOD_CLK_ENABLE();

  /*Configure GPIO pin Output Level */
  HAL_GPIO_WritePin(GPIOA, Switch_Relay_3_Pin|Switch_Relay_1_Pin|Switch_Relay_2_Pin|DIR_Pin, GPIO_PIN_RESET);

  /*Configure GPIO pin Output Level */
  HAL_GPIO_WritePin(JoyStick_SS_PIN_GPIO_Port, JoyStick_SS_PIN_Pin, GPIO_PIN_RESET);

  /*Configure GPIO pins : B1_Pin Photoelectric_sensor_1_Pin */
  GPIO_InitStruct.Pin = B1_Pin|Photoelectric_sensor_1_Pin;
  GPIO_InitStruct.Mode = GPIO_MODE_IT_FALLING;
  GPIO_InitStruct.Pull = GPIO_NOPULL;
  HAL_GPIO_Init(GPIOC, &GPIO_InitStruct);

  /*Configure GPIO pin : Emergency_Pin */
  GPIO_InitStruct.Pin = Emergency_Pin;
  GPIO_InitStruct.Mode = GPIO_MODE_IT_RISING;
  GPIO_InitStruct.Pull = GPIO_NOPULL;
  HAL_GPIO_Init(Emergency_GPIO_Port, &GPIO_InitStruct);

  /*Configure GPIO pins : Switch_Relay_3_Pin Switch_Relay_1_Pin Switch_Relay_2_Pin DIR_Pin */
  GPIO_InitStruct.Pin = Switch_Relay_3_Pin|Switch_Relay_1_Pin|Switch_Relay_2_Pin|DIR_Pin;
  GPIO_InitStruct.Mode = GPIO_MODE_OUTPUT_PP;
  GPIO_InitStruct.Pull = GPIO_NOPULL;
  GPIO_InitStruct.Speed = GPIO_SPEED_FREQ_LOW;
  HAL_GPIO_Init(GPIOA, &GPIO_InitStruct);

  /*Configure GPIO pins : Photoelectric_sensor_2_Pin Photoelectric_sensor_3_Pin */
  GPIO_InitStruct.Pin = Photoelectric_sensor_2_Pin|Photoelectric_sensor_3_Pin;
  GPIO_InitStruct.Mode = GPIO_MODE_IT_FALLING;
  GPIO_InitStruct.Pull = GPIO_NOPULL;
  HAL_GPIO_Init(GPIOB, &GPIO_InitStruct);

  /*Configure GPIO pin : JoyStick_SS_PIN_Pin */
  GPIO_InitStruct.Pin = JoyStick_SS_PIN_Pin;
  GPIO_InitStruct.Mode = GPIO_MODE_OUTPUT_PP;
  GPIO_InitStruct.Pull = GPIO_NOPULL;
  GPIO_InitStruct.Speed = GPIO_SPEED_FREQ_LOW;
  HAL_GPIO_Init(JoyStick_SS_PIN_GPIO_Port, &GPIO_InitStruct);

  /* EXTI interrupt init*/
  HAL_NVIC_SetPriority(EXTI2_IRQn, 0, 0);
  HAL_NVIC_EnableIRQ(EXTI2_IRQn);

  HAL_NVIC_SetPriority(EXTI3_IRQn, 0, 0);
  HAL_NVIC_EnableIRQ(EXTI3_IRQn);

  HAL_NVIC_SetPriority(EXTI9_5_IRQn, 0, 0);
  HAL_NVIC_EnableIRQ(EXTI9_5_IRQn);

  HAL_NVIC_SetPriority(EXTI15_10_IRQn, 0, 0);
  HAL_NVIC_EnableIRQ(EXTI15_10_IRQn);

}

/* USER CODE BEGIN 4 */
void ramp_set(int number) {

	if (number == 1) {
		HAL_GPIO_WritePin(Switch_Relay_1_GPIO_Port, Switch_Relay_1_Pin, SET);
	} else {
		HAL_GPIO_WritePin(Switch_Relay_2_GPIO_Port, Switch_Relay_2_Pin, RESET);
		HAL_GPIO_WritePin(Switch_Relay_3_GPIO_Port, Switch_Relay_3_Pin, RESET);
	}

	if (number == 2) {
		HAL_GPIO_WritePin(Switch_Relay_2_GPIO_Port, Switch_Relay_2_Pin, SET);
	} else {
		HAL_GPIO_WritePin(Switch_Relay_1_GPIO_Port, Switch_Relay_1_Pin, RESET);
		HAL_GPIO_WritePin(Switch_Relay_3_GPIO_Port, Switch_Relay_3_Pin, RESET);
	}

	if (number == 3) {
		HAL_GPIO_WritePin(Switch_Relay_3_GPIO_Port, Switch_Relay_3_Pin, SET);
	} else {
		HAL_GPIO_WritePin(Switch_Relay_1_GPIO_Port, Switch_Relay_1_Pin, RESET);
		HAL_GPIO_WritePin(Switch_Relay_2_GPIO_Port, Switch_Relay_2_Pin, RESET);
	}
}

void Photo_IT() {
	switch (state_IT) {
	case 0:
		if (state_IT == 0) {
//			motor(0, 1);
//			motor(Max_Counter_PWM * 0.5, -1);
		} else if (state_IT == 1) {
			Dutyfeedback = 0;
			motor(0, 1);
		}
		break;

	case 1:
		Dutyfeedback = 0;
		motor(0, 1);
		break;
	}
}

void HAL_GPIO_EXTI_Callback(uint16_t GPIO_Pin) {

//	if (GPIO_Pin == Photoelectric_sensor_1_Pin) {
//		if (State == PID_STATE) {
//			Dutyfeedback = 0;
//			__HAL_TIM_SET_COMPARE(&htim1, TIM_CHANNEL_1, 0);
//			state_IT = 1;
//			State = EMERGENCY_LIMIT;
//		}
//	}
//
//	if (GPIO_Pin == Photoelectric_sensor_3_Pin) {
//		if (State == PID_STATE) {
//			Dutyfeedback = 0;
//			__HAL_TIM_SET_COMPARE(&htim1, TIM_CHANNEL_1, 0);
//			state_IT = 1;
//			State = EMERGENCY_LIMIT;
//		}
//	}

//	if (GPIO_Pin == Emergency_Pin) {
//		if (State != SENSOR_CHECK ) {
////			timestamp_emer = HAL_GetTick() + 1000;
//			LAST_STATE = State;
//
////			EndEffector_Event(Read);
//
//			EndEffector_Event(In_Emergency);
//
//			State = EMERGENCY_LIMIT;
//		}
//
//	}
}

uint64_t micros() {
	return __HAL_TIM_GET_COUNTER(&htim5) + _micros;
}

void HAL_TIM_PeriodElapsedCallback(TIM_HandleTypeDef *htim) {
	if (htim == &htim5) {
		_micros += UINT32_MAX;
	}
}

/* USER CODE END 4 */

void Error_Handler(void)
{
	__disable_irq();
	while (1) {
	}
}
